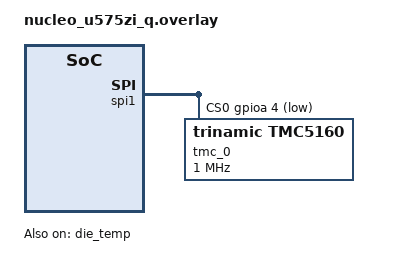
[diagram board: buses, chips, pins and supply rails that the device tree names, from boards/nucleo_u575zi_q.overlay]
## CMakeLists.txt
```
# SPDX-License-Identifier: Apache-2.0

cmake_minimum_required(VERSION 3.20.0)
find_package(Zephyr REQUIRED HINTS $ENV{ZEPHYR_BASE})
project(app)

target_include_directories(app PRIVATE include)
target_include_directories(app PUBLIC ${ZEPHYR_BASE}/../modules/lib/golioth-firmware-sdk/examples/zephyr/common/include)

target_sources(app PRIVATE
  src/main.cpp
  # src/Button.cpp
  # src/Led.cpp
  # src/Temperature.cpp
  # src/Serial.cpp
  # src/Network.cpp
  # src/Storage.cpp
  # src/HttpClient.cpp
  # src/EventManager.cpp
  # src/Updater.cpp
  # src/AppAcquisition.cpp
  # src/AppTelemetry.cpp
  # src/AppEventDrivenFsm.cpp
  # src/app_golioth.c
)
```

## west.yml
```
manifest:
  version: 0.7

  defaults:
    remote: zephyrproject

  remotes:
    - name: zephyrproject
      url-base: https://github.com/zephyrproject-rtos

  projects:
    - name: golioth
      path: deps/modules/lib/golioth-firmware-sdk
      revision: main
      url: https://github.com/kaizoku-oh/golioth-firmware-sdk.git
      submodules: true

    - name: zephyr
      repo-path: zephyr
      revision: a6eef0ba3755f2530c5ce93524e5ac4f5be30194 # v3.5.0
      path: zephyr
      import:
        path-prefix: deps
        name-allowlist:
          - cmsis
          - hal_stm32
          - mcuboot
          - mbedtls

  self:
    path: app
```

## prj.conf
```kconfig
# Shell
CONFIG_KERNEL_SHELL=y
CONFIG_SHELL=y

# C++
CONFIG_CPP=y
CONFIG_STD_CPP20=y
CONFIG_REQUIRES_FULL_LIBCPP=y

# Misc
CONFIG_MAIN_STACK_SIZE=4096
CONFIG_REBOOT=y
CONFIG_HWINFO=y
CONFIG_EVENTS=y
CONFIG_SMF=y

# Logging
CONFIG_LOG=y
CONFIG_LOG_MODE_IMMEDIATE=y

# ZBus
CONFIG_ZBUS=y
CONFIG_ZBUS_LOG_LEVEL_INF=y
CONFIG_ZBUS_CHANNEL_NAME=y
CONFIG_ZBUS_OBSERVER_NAME=y
```

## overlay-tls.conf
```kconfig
CONFIG_MAIN_STACK_SIZE=3072

CONFIG_NET_BUF_RX_COUNT=80
CONFIG_NET_BUF_TX_COUNT=80

# TLS configuration
CONFIG_MBEDTLS=y
CONFIG_MBEDTLS_BUILTIN=y
CONFIG_MBEDTLS_ENABLE_HEAP=y
CONFIG_MBEDTLS_HEAP_SIZE=60000
CONFIG_MBEDTLS_SSL_MAX_CONTENT_LEN=2048
CONFIG_MBEDTLS_LOG_LEVEL_INF=y
CONFIG_TLS_CREDENTIALS_LOG_LEVEL_DBG=y

CONFIG_NET_SOCKETS_SOCKOPT_TLS=y
CONFIG_NET_SOCKETS_TLS_MAX_CONTEXTS=6
```

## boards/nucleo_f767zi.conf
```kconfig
# Drivers
CONFIG_GPIO=y
CONFIG_ADC=y
CONFIG_FLASH=y
CONFIG_SERIAL=y
CONFIG_UART_INTERRUPT_DRIVEN=y

# Subsystems
CONFIG_SENSOR=y
CONFIG_NVS=y

# Networking
CONFIG_NETWORKING=y
CONFIG_NET_LOG=y
CONFIG_NET_SOCKETS=y
CONFIG_NET_SOCKETS_LOG_LEVEL_DBG=n
CONFIG_NET_SOCKETS_POSIX_NAMES=y
CONFIG_NET_SOCKETS_POLL_MAX=4
CONFIG_NET_IPV6=n
CONFIG_NET_IPV4=y
CONFIG_NET_ARP=y
CONFIG_NET_TCP=y
CONFIG_NET_UDP=y
CONFIG_NET_DHCPV4=y
CONFIG_NET_SHELL=y
CONFIG_NET_MGMT=y
CONFIG_NET_MGMT_EVENT=y
CONFIG_NET_MGMT_EVENT_STACK_SIZE=1024
CONFIG_INIT_STACKS=y
CONFIG_SLIP_STATISTICS=n
CONFIG_TEST_RANDOM_GENERATOR=y

# Golioth Firmware SDK with all dependencies
CONFIG_GOLIOTH_FIRMWARE_SDK=y
CONFIG_GOLIOTH_SAMPLE_COMMON=y
CONFIG_GOLIOTH_SAMPLE_HARDCODED_CREDENTIALS=y
CONFIG_GOLIOTH_SAMPLE_PSK_ID="20240511152824-nucleo-f767zi@chocolate-full-scorpion"
CONFIG_GOLIOTH_SAMPLE_PSK="ba25bae30f68724ba1ea5f5ff2c50cfd"
```

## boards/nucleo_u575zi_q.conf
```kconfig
# Drivers
CONFIG_GPIO=y
CONFIG_ADC=y
CONFIG_FLASH=y
CONFIG_SERIAL=y
CONFIG_UART_INTERRUPT_DRIVEN=y
CONFIG_TMC_SPI=y
CONFIG_TMC5160=y

# Subsystems
CONFIG_SENSOR=y
CONFIG_NVS=y
```

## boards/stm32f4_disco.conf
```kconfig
# Drivers
CONFIG_GPIO=y
CONFIG_ADC=y
CONFIG_FLASH=y
CONFIG_SERIAL=y
CONFIG_UART_INTERRUPT_DRIVEN=y
CONFIG_UART_CONSOLE=y
CONFIG_UART_LINE_CTRL=y

# Subsystems
CONFIG_SENSOR=y
CONFIG_NVS=y

# USB support
CONFIG_USB_DEVICE_STACK=y
CONFIG_USB_DEVICE_PID=22336
CONFIG_USB_DEVICE_VID=1155
CONFIG_USB_DEVICE_INITIALIZE_AT_BOOT=n
CONFIG_USB_DEVICE_MANUFACTURER="STMicroelectronics"
CONFIG_USB_DEVICE_PRODUCT="STM32 Virtual ComPort"
CONFIG_USB_DEVICE_SN="0123456789ABCDEF"
CONFIG_USB_CDC_ACM_LOG_LEVEL_OFF=y
```

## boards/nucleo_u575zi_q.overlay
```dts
&die_temp {
    status = "okay";
};

&flash0 {
    partitions {
        compatible = "fixed-partitions";
        #address-cells = <1>;
        #size-cells = <1>;

        /*
         * The two sectors 0-1 (32+32 kbytes) are reserved for
         * the bootloader.
         */
        boot_partition: partition@0 {
            label = "mcuboot";
            reg = <0x0 DT_SIZE_K(64)>;
            read-only;
        };

        /*
         * The flash starting at offset 0x10000 and ending at
         * offset 0x1ffff is reserved for use by the application.
         * This represents sectors 2-3 (32+32 kbytes)
         */
        storage_partition: partition@10000 {
            label = "storage";
            reg = <0x00010000 DT_SIZE_K(64)>;
        };

        /*
         * Sector 4 (128 kbytes) unallocated.
         */

        /*
         * Allocated 3 (256k x 3) sectors for image-0. Sectors 5-7.
         */
        slot0_partition: partition@40000 {
            label = "image-0";
            reg = <0x00040000 DT_SIZE_K(768)>;
        };

        /*
         * Allocated 3 (256k x 3) sectors for image-1. Sectors 8-10.
         */
        slot1_partition: partition@100000 {
            label = "image-1";
            reg = <0x00100000 DT_SIZE_K(768)>;
        };

        /*
         * Allocated 1 (256k) sector for image-scratch. Sector 11.
         */
        scratch_partition: partition@1C0000 {
            label = "image-scratch";
            reg = <0x001C0000 DT_SIZE_K(256)>;
        };
    };
};

/ {
    aliases {
        tmc0 = &tmc_0;
    };
};

&spi1 {
    cs-gpios = <&gpioa 4 (GPIO_ACTIVE_LOW | GPIO_PULL_UP)>;

    tmc_0: tmc5160@0 {
        compatible = "trinamic,tmc5160";
        status = "okay";
        reg = <0x00>;

        // 4MHz internal, 8MHz external clock
        // TODO: seems not to work for higher speed than 1MHz
        spi-max-frequency = <1000000>;

        rotation-distance = <1>;    // [mm/turn]
    };
};
```

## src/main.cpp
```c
// Lib C includes
#include <stdlib.h>
#include <stdbool.h>

// Zephyr includes
#include <zephyr/kernel.h>
#include <zephyr/sys/reboot.h>
#include <zephyr/logging/log.h>
LOG_MODULE_REGISTER(main);

#include "tmc5160.h"

const struct device *tmc0 = DEVICE_DT_GET( DT_ALIAS(tmc0));

int main(void) {

  if (!device_is_ready(tmc0)) {
    printk("TMC device is not ready\r\n");
    return EXIT_FAILURE;
  }

  tmc_run(tmc0, 0, 60, 0);

  while (true) {
    k_msleep(100);
  }

  return EXIT_SUCCESS;
}

void k_sys_fatal_error_handler(unsigned int reason, const z_arch_esf_t *context) {
  switch (reason) {
    case K_ERR_CPU_EXCEPTION:
      LOG_ERR("Generic CPU exception, not covered by other codes");
      break;
    case K_ERR_SPURIOUS_IRQ:
      LOG_ERR("Unhandled hardware interrupt");
      break;
    case K_ERR_STACK_CHK_FAIL:
      LOG_ERR("Faulting context overflowed its stack buffer");
      break;
    case K_ERR_KERNEL_OOPS:
      LOG_ERR("High severity software error");
      break;
    case K_ERR_ARCH_START:
      LOG_ERR("Arch specific fatal errors");
      break;
    default:
      LOG_ERR("Unknow reason for fatal error (%d)", reason);
      break;
  }
  sys_reboot(SYS_REBOOT_COLD);
}
```

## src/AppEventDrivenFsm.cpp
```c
/*-----------------------------------------------------------------------------------------------*/
/* Includes                                                                                      */
/*-----------------------------------------------------------------------------------------------*/
#include <zephyr/kernel.h>
#include <zephyr/drivers/gpio.h>
#include <zephyr/smf.h>
#include <zephyr/logging/log.h>
LOG_MODULE_REGISTER(event_driven_fsm, LOG_LEVEL_DBG);

/*-----------------------------------------------------------------------------------------------*/
/* Private defines                                                                               */
/*-----------------------------------------------------------------------------------------------*/
/* Timer period in milliseconds */
#define TIMER_PERIOD_IN_MS         ((uint32_t)3000)

/* List of bit-fielded events */
#define EVENT_ANY                  ((uint32_t)0xFFFFFFFF)
#define EVENT_BUTTON_PRESS         ((uint32_t)BIT(0))
#define EVENT_TIMER_PERIOD_ELAPSED ((uint32_t)BIT(1))

/*-----------------------------------------------------------------------------------------------*/
/* Private types                                                                                 */
/*-----------------------------------------------------------------------------------------------*/
/* Used to facilitate indexing/enumerating the states[] list */
typedef enum {
  STATE_0 = 0,
  STATE_1,
  STATE_MAX,
} state_t;

/* State machine global context (contains SMF context + user data) */
typedef struct {
  /* This must be first */
  struct smf_ctx ctx;
  /* In our case, user data is the event kernel object and a 32 bits variable to store events */
  struct k_event kEvent;
  uint32_t events;
  /* Other state specific data add here */
} state_machine_t;

/*-----------------------------------------------------------------------------------------------*/
/* Private function prototypes                                                                   */
/*-----------------------------------------------------------------------------------------------*/
static void appThreadHandler();
static void appTimerHandler(struct k_timer *timer);
static void state0EventsHandler(void *machine);
static void state1EventsHandler(void *machine);
static void setupButton(const struct gpio_dt_spec *buttonGpio, struct gpio_callback *callbackData);
static void onButtonPressCallback(const struct device *dev, struct gpio_callback *cb, uint32_t pins);

/*-----------------------------------------------------------------------------------------------*/
/* Private constants                                                                             */
/*-----------------------------------------------------------------------------------------------*/
/* Create app kernel objects */
K_THREAD_DEFINE(appThread, 1024, appThreadHandler, NULL, NULL, NULL, 7, 0, 0);
K_TIMER_DEFINE(appTimer, appTimerHandler, NULL);

/* Get button GPIO device from DTS */
static const struct gpio_dt_spec button = GPIO_DT_SPEC_GET_OR(DT_ALIAS(sw0), gpios, {0});

/* List of states */
static const struct smf_state states[] = {
  [STATE_0] = SMF_CREATE_STATE(NULL, state0EventsHandler, NULL),
  [STATE_1] = SMF_CREATE_STATE(NULL, state1EventsHandler, NULL),
};

/*-----------------------------------------------------------------------------------------------*/
/* Private global variables                                                                      */
/*-----------------------------------------------------------------------------------------------*/
/* Global state machine */
static state_machine_t stateMachine = {0};

/* Button GPIO callback data */
static struct gpio_callback buttonCallbackData = {0};

/*-----------------------------------------------------------------------------------------------*/
/* Private functions                                                                             */
/*-----------------------------------------------------------------------------------------------*/
static void appThreadHandler() {
  int ret = 0;

  /* Configure button GPIO and interrupt */
  setupButton(&button, &buttonCallbackData);

  /* Initialize the event kernel object inside the state machine */
  k_event_init(&stateMachine.kEvent);

  /* Set initial state for the state machine */
  smf_set_initial(SMF_CTX(&stateMachine), &states[STATE_0]);

  /* Start a periodic timer that expires once every 3 seconds */
  k_timer_start(&appTimer, K_MSEC(TIMER_PERIOD_IN_MS), K_MSEC(TIMER_PERIOD_IN_MS));

  /* Run the state machine */
  while (true) {
    /* Block forever until any event is detected */
    stateMachine.events = k_event_wait(&stateMachine.kEvent, EVENT_ANY, true, K_FOREVER);
    /* Run one iteration of the state machine (including any parent states) */
    ret = smf_run_state(SMF_CTX(&stateMachine));
    /* State machine terminates if a non-zero value is returned */
    if (ret) {
      /* handle return code and terminate state machine */
      break;
    }
  }
}

static void appTimerHandler(struct k_timer *timer) {
  /* Generate timer period elapsed event */
  k_event_post(&stateMachine.kEvent, EVENT_TIMER_PERIOD_ELAPSED);
}

static void state0EventsHandler(void *machine) {
  /* Filter on events that we need in STATE 0 */
  if (stateMachine.events & EVENT_BUTTON_PRESS) {
    /* Change state on button press event */
    smf_set_state(SMF_CTX(&stateMachine), &states[STATE_1]);
  } else if (stateMachine.events & EVENT_TIMER_PERIOD_ELAPSED) {
    /* Handle this event in STATE_0 */
  }
}

static void state1EventsHandler(void *machine) {
  /* Filter on events that we need in STATE 1 */
  if (stateMachine.events & EVENT_BUTTON_PRESS) {
    /* Change state on button press event */
    smf_set_state(SMF_CTX(&stateMachine), &states[STATE_0]);
  } else if (stateMachine.events & EVENT_TIMER_PERIOD_ELAPSED) {
    /* Handle this event in STATE_1 */
  }
}

static void setupButton(const struct gpio_dt_spec *buttonGpio, struct gpio_callback *callbackData) {
  int ret;

  /* Setup button GPIO and interrupt */
  if (!gpio_is_ready_dt(buttonGpio)) {
    LOG_ERR("Error: button device %s is not ready\r\n", button.port->name);
    return;
  }
  ret = gpio_pin_configure_dt(buttonGpio, GPIO_INPUT);
  if (ret != 0) {
    LOG_ERR("Error %d: failed to configure %s pin %d\r\n", ret, button.port->name, button.pin);
    return;
  }
  ret = gpio_pin_interrupt_configure_dt(buttonGpio, GPIO_INT_EDGE_TO_ACTIVE);
  if (ret != 0) {
    LOG_ERR("Error %d: failed to configure interrupt on %s pin %d\r\n", ret, button.port->name, button.pin);
    return;
  }
  gpio_init_callback(callbackData, onButtonPressCallback, BIT(button.pin));
  gpio_add_callback(button.port, callbackData);
}

static void onButtonPressCallback(const struct device *dev, struct gpio_callback *cb, uint32_t pins) {
  /* Generate button press event */
  k_event_post(&stateMachine.kEvent, EVENT_BUTTON_PRESS);
}
```

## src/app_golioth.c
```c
/*
 * Copyright (c) 2023 Golioth, Inc.
 *
 * SPDX-License-Identifier: Apache-2.0
 */

#include <zephyr/logging/log.h>
LOG_MODULE_REGISTER(hello_zephyr, LOG_LEVEL_DBG);

#include <golioth/client.h>
#include <samples/common/sample_credentials.h>
#include <string.h>
#include <zephyr/kernel.h>

#include <samples/common/net_connect.h>

struct golioth_client *client;
static K_SEM_DEFINE(connected, 0, 1);

static void on_client_event(struct golioth_client *client,
                            enum golioth_client_event event,
                            void *arg)
{
    bool is_connected = (event == GOLIOTH_CLIENT_EVENT_CONNECTED);
    if (is_connected)
    {
        k_sem_give(&connected);
    }
    LOG_INF("Golioth client %s", is_connected ? "connected" : "disconnected");
}

int main(void)
{
    int counter = 0;

    LOG_DBG("start hello sample");

    net_connect();

    /* Note: In production, you would provision unique credentials onto each
     * device. For simplicity, we provide a utility to hardcode credentials as
     * kconfig options in the samples.
     */
    const struct golioth_client_config *client_config = golioth_sample_credentials_get();

    client = golioth_client_create(client_config);

    golioth_client_register_event_callback(client, on_client_event, NULL);

    k_sem_take(&connected, K_FOREVER);

    while (true)
    {
        LOG_INF("Sending hello! %d", counter);

        ++counter;
        k_sleep(K_SECONDS(5));
    }

    return 0;
}
```
